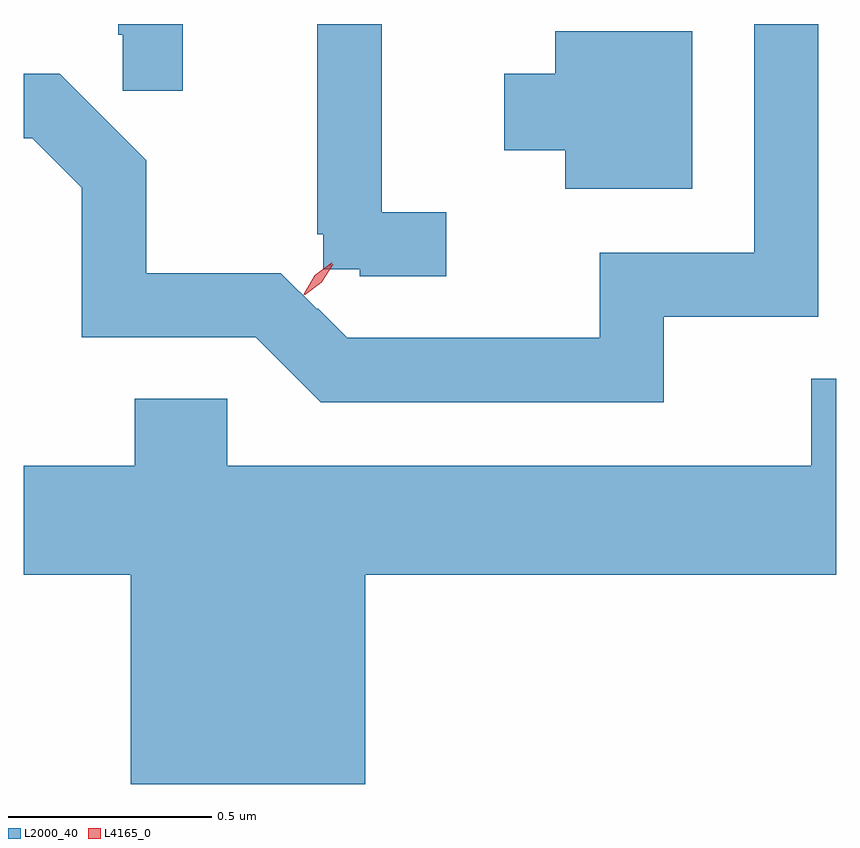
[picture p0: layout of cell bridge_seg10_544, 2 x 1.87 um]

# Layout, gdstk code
import gdstk
lib = gdstk.Library(unit=1e-6, precision=1e-09)
def P(c, l, *ps):  # polygons
    for p in ps: c.add(gdstk.Polygon(p, *l))
L2000_40 = (2000, 40)
L4165_0 = (4165, 0)

bridge_seg10_544 = lib.new_cell('bridge_seg10_544')
P(bridge_seg10_544, L2000_40, [(836.284,2192.972),(836.126,2192.972),(836.126,2192.945),(836.136,2192.945),(836.136,2192.808),(836.284,2192.808)],
  [(836.933,2192.509),(836.774,2192.509),(836.774,2192.972),(836.616,2192.972),(836.616,2192.455),(836.63,2192.455),(836.63,2192.368),(836.72,2192.368),(836.72,2192.351),(836.933,2192.351)],
  [(837.469,2192.251),(837.849,2192.251),(837.849,2192.972),(837.691,2192.972),(837.691,2192.409),(837.311,2192.409),(837.311,2192.199),(836.689,2192.199),(836.617,2192.272),(836.615,2192.27),(836.526,2192.359),(836.194,2192.359),(836.194,2192.636),(835.981,2192.849),(835.893,2192.849),(835.893,2192.691),(835.914,2192.691),(836.036,2192.569),(836.036,2192.201),(836.464,2192.201),(836.624,2192.041),(837.469,2192.041)],
  [(837.539,2192.954),(837.201,2192.954),(837.201,2192.849),(837.076,2192.849),(837.076,2192.661),(837.226,2192.661),(837.226,2192.566),(837.539,2192.566)],
  [(836.734,2191.616),(837.893,2191.616),(837.893,2192.099),(837.831,2192.099),(837.831,2191.884),(836.394,2191.884),(836.394,2192.049),(836.166,2192.049),(836.166,2191.884),(835.893,2191.884),(835.893,2191.616),(836.156,2191.616),(836.156,2191.101),(836.734,2191.101)])
P(bridge_seg10_544, L4165_0, [(836.582,2192.306),(836.582,2192.307),(836.609,2192.353),(836.652,2192.386),(836.652,2192.386),(836.652,2192.385),(836.624,2192.34),(836.582,2192.306)],
  [(836.585,2192.306),(836.585,2192.307),(836.613,2192.35),(836.654,2192.38),(836.655,2192.38),(836.655,2192.38),(836.627,2192.336),(836.586,2192.306)])

lib.write_gds('bridge_seg10_544.gds')
